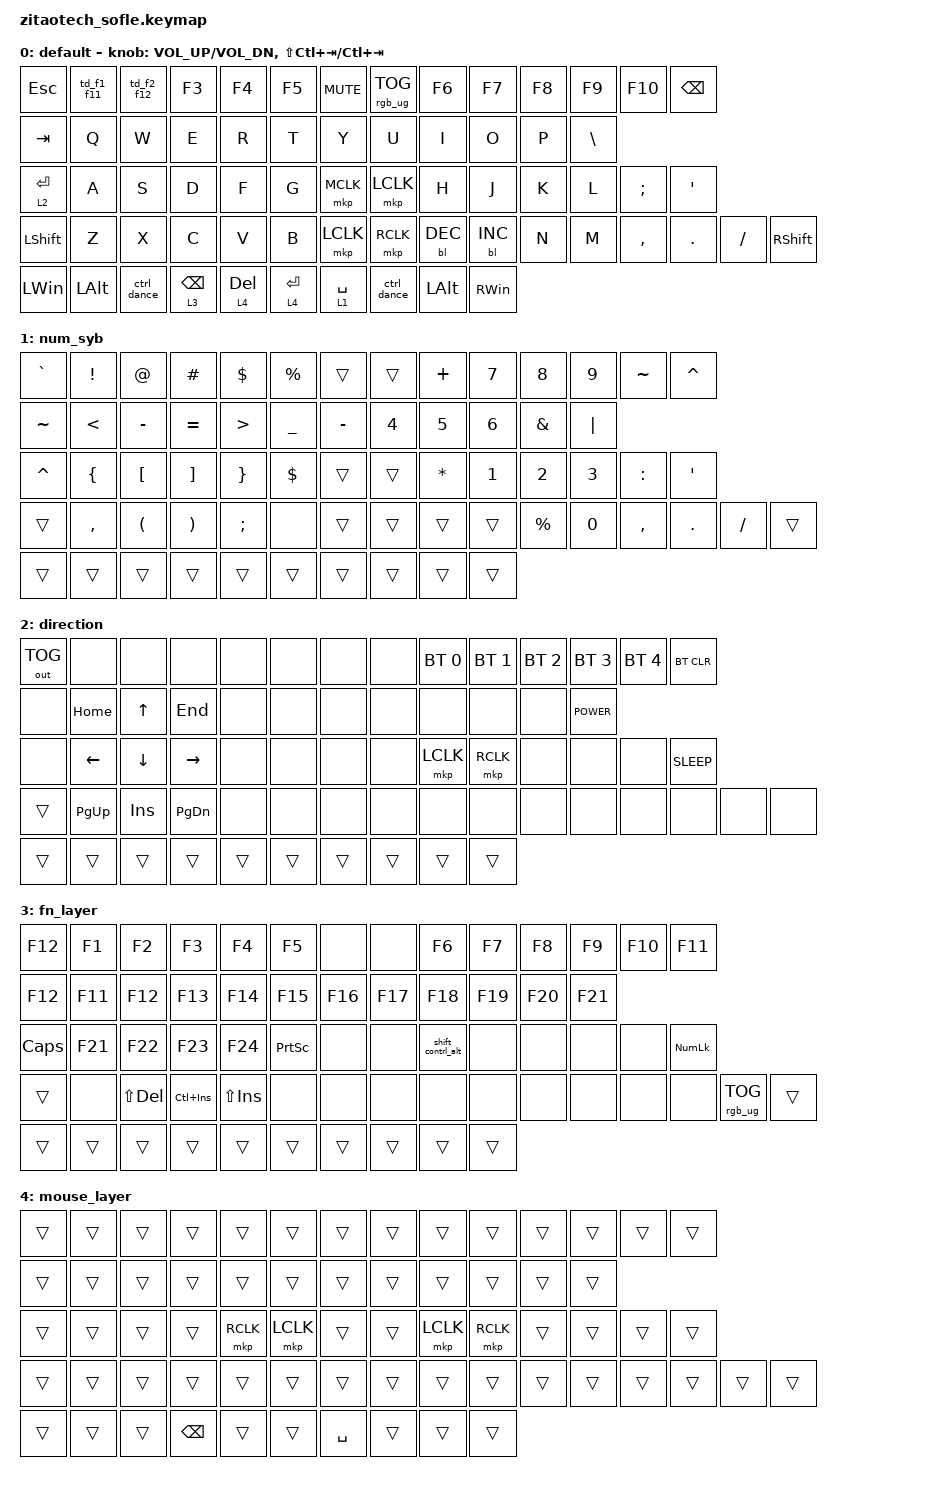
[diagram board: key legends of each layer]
/*
 * Copyright (c) 2025 ZitaoTech
 *
 * SPDX-License-Identifier: MIT
 */

#include <dt-bindings/zmk/mouse.h>
#include <behaviors.dtsi>
#include <dt-bindings/zmk/backlight.h>
#include <dt-bindings/zmk/bt.h>
#include <dt-bindings/zmk/keys.h>
#include <dt-bindings/zmk/outputs.h>
#include <dt-bindings/zmk/pointing.h>
#include <dt-bindings/zmk/rgb.h>

#define FUNC 1
#define RES 2
#define BOT bootloader

/ {
    //    behaviors {
    //        hm: homerow_mods {
    //            compatible = "zmk,behavior-hold-tap";
    //            #binding-cells = <2>;
    //            tapping-term-ms = <500>;
    //            bindings = <&kp &kp>;
    //        };
    //    };
    //    behaviors {
    //         sp_sc: behavior_spacescroll {
    //           compatible = "zmk,behavior-hold-tap";
    //           #binding-cells = <2>;
    //           flavor = "tap-preferred";     /* 单击优先 */
    //           tapping-term-ms = <200>;       /* 长按阈值 */
    //           bindings = <&none &kp>;        /* hold=none, tap=space */
    //        };
    //    };

    behaviors {
        td_f1_f11: tap_dance_f1_f11 {
            compatible = "zmk,behavior-tap-dance";
            #binding-cells = <0>;
            tapping-term-ms = <220>;
            bindings = <&kp F1>, <&kp F11>;
        };
    };

    behaviors {
        td_f2_f12: tap_dance_f2_f12 {
            compatible = "zmk,behavior-tap-dance";
            #binding-cells = <0>;
            tapping-term-ms = <220>;
            bindings = <&kp F2>, <&kp F12>;
        };
    };

    behaviors {
        BLE_encoder: BLE_encoder {
            compatible = "zmk,behavior-sensor-rotate";
            #sensor-binding-cells = <0>;
            bindings = <&bt BT_NXT>, <&bt BT_PRV>;
        };
    };

    behaviors {
        ctrl_dance: ctrl_dance {
            compatible = "zmk,behavior-tap-dance";
            label = "CTRL_DANCE";
            #binding-cells = <0>;
            bindings = <&kp LEFT_CONTROL>, <&kp RIGHT_CONTROL>;

            tapping-term-ms = <220>;
        };
    };

    behaviors {
        fn_tap: fn_tap {
            compatible = "zmk,behavior-hold-tap";
            label = "FN_TAP";
            bindings = <&mo>, <&kp>;

            #binding-cells = <2>;
            quick-tap-ms = <220>;
            tapping-term-ms = <150>;
            flavor = "tap-preferred";
        };
    };

    macros {
        shift_contrl_alt: shift_contrl_alt {
            compatible = "zmk,behavior-macro";
            #binding-cells = <0>;
            bindings = <&kp LEFT_SHIFT &kp LCTRL &kp LEFT_ALT>;
            label = "SHIFT_CONTRL_ALT";
        };
    };

    keymap {
        compatible = "zmk,keymap";

        default_layer {
            display-name = "default";
            bindings = <
&kp ESC          &td_f1_f11  &td_f2_f12   &kp F3               &kp F4         &kp F5           &kp C_MUTE       &rgb_ug RGB_TOG  &kp F6      &kp F7         &kp F8  &kp F9    &kp F10    &kp BACKSPACE
&kp TAB          &kp Q       &kp W        &kp E                &kp R          &kp T            &kp Y            &kp U            &kp I       &kp O          &kp P   &kp BSLH
&fn_tap 2 ENTER  &kp A       &kp S        &kp D                &kp F          &kp G            &mkp MCLK        &mkp LCLK        &kp H       &kp J          &kp K   &kp L     &kp SEMI   &kp APOS
&kp LSHFT        &kp Z       &kp X        &kp C                &kp V          &kp B            &mkp LCLK        &mkp RCLK        &bl BL_DEC  &bl BL_INC     &kp N   &kp M     &kp COMMA  &kp DOT        &kp FSLH  &kp RIGHT_SHIFT
&kp LEFT_WIN     &kp LALT    &ctrl_dance  &fn_tap 3 BACKSPACE  &fn_tap 4 DEL  &fn_tap 4 ENTER  &fn_tap 1 SPACE  &ctrl_dance      &kp LALT    &kp RIGHT_WIN
            >;

            sensor-bindings =
                <&inc_dec_kp C_VOL_UP C_VOL_DN>,
                <&inc_dec_kp LS(LC(TAB)) LC(TAB)>;
        };

        num_syb {
            display-name = "num_syb";
            bindings = <
&kp GRAVE  &kp EXCL   &kp AT     &kp HASH   &kp DOLLAR  &kp PERCENT     &trans     &trans  &kp PLUS   &kp N7  &kp N8       &kp N9    &kp TILDE  &kp CARET
&kp TILDE  &kp LT     &kp MINUS  &kp EQUAL  &kp GT      &kp UNDERSCORE  &kp MINUS  &kp N4  &kp N5     &kp N6  &kp AMPS     &kp PIPE
&kp CARET  &kp LBRC   &kp LBKT   &kp RBKT   &kp RBRC    &kp DOLLAR      &trans     &trans  &kp ASTRK  &kp N1  &kp N2       &kp N3    &kp COLON  &kp SQT
&trans     &kp COMMA  &kp LPAR   &kp RPAR   &kp SEMI    &none           &trans     &trans  &trans     &trans  &kp PERCENT  &kp N0    &kp COMMA  &kp DOT    &kp FSLH  &trans
&trans     &trans     &trans     &trans     &trans      &trans          &trans     &trans  &trans     &trans
            >;
        };

        direction {
            display-name = "direction";
            bindings = <
&out OUT_TOG  &none      &none       &none      &none   &none   &none   &none   &bt BT_SEL 0  &bt BT_SEL 1  &bt BT_SEL 2  &bt BT_SEL 3  &bt BT_SEL 4  &bt BT_CLR
&none         &kp HOME   &kp UP      &kp END    &none   &none   &none   &none   &none         &none         &none         &kp C_POWER
&none         &kp LEFT   &kp DOWN    &kp RIGHT  &none   &none   &none   &none   &mkp LCLK     &mkp RCLK     &none         &none         &none         &kp C_SLEEP
&trans        &kp PG_UP  &kp INSERT  &kp PG_DN  &none   &none   &none   &none   &none         &none         &none         &none         &none         &none        &none  &none
&trans        &trans     &trans      &trans     &trans  &trans  &trans  &trans  &trans        &trans
            >;
        };

        fn_layer {
            display-name = "fn_layer";
            bindings = <
&kp F12   &kp F1   &kp F2          &kp F3          &kp F4          &kp F5           &none    &none    &kp F6             &kp F7   &kp F8   &kp F9   &kp F10  &kp F11
&kp F12   &kp F11  &kp F12         &kp F13         &kp F14         &kp F15          &kp F16  &kp F17  &kp F18            &kp F19  &kp F20  &kp F21
&kp CAPS  &kp F21  &kp F22         &kp F23         &kp F24         &kp PRINTSCREEN  &none    &none    &shift_contrl_alt  &none    &none    &none    &none    &kp KP_NLCK
&trans    &none    &kp LS(DELETE)  &kp LC(INSERT)  &kp LS(INSERT)  &none            &none    &none    &none              &none    &none    &none    &none    &none        &rgb_ug RGB_TOG  &trans
&trans    &trans   &trans          &trans          &trans          &trans           &trans   &trans   &trans             &trans
            >;
        };

        // 目前 鼠标层的设计主要是为了配合左手键区的方向键层，以及ctrl c ctrl v ctrl x，但是无法使用fn层的万能复制粘贴键。

        mouse_layer {
            display-name = "mouse_layer";
            bindings = <
&trans  &trans  &trans  &trans         &trans     &trans     &trans     &trans  &trans     &trans     &trans  &trans  &trans  &trans
&trans  &trans  &trans  &trans         &trans     &trans     &trans     &trans  &trans     &trans     &trans  &trans
&trans  &trans  &trans  &trans         &mkp RCLK  &mkp LCLK  &trans     &trans  &mkp LCLK  &mkp RCLK  &trans  &trans  &trans  &trans
&trans  &trans  &trans  &trans         &trans     &trans     &trans     &trans  &trans     &trans     &trans  &trans  &trans  &trans  &trans  &trans
&trans  &trans  &trans  &kp BACKSPACE  &trans     &trans     &kp SPACE  &trans  &trans     &trans
            >;
        };

        /*
        RES_layer {
            display-name = "RESERVE";
            bindings = <
&none                 &none         &none          &none             &none                &none                &none                                    &none        &none               &none              &none            &none           &none            &none            
&none                 &none         &none          &none             &none                &none                                                                      &none               &none              &none            &none           &none            &none
&none                 &none         &none          &none             &none                &none                &none                                    &none        &none               &none              &none            &none           &none            &none
&none                 &none         &none          &none             &none                &none                &none         &none        &none         &none        &none               &none              &none            &none           &none            &none
                      &none         &none          &none             &none                &none                                                                      &none               &none              &none            &none           &none
            >;
        };
*/
    };
};
